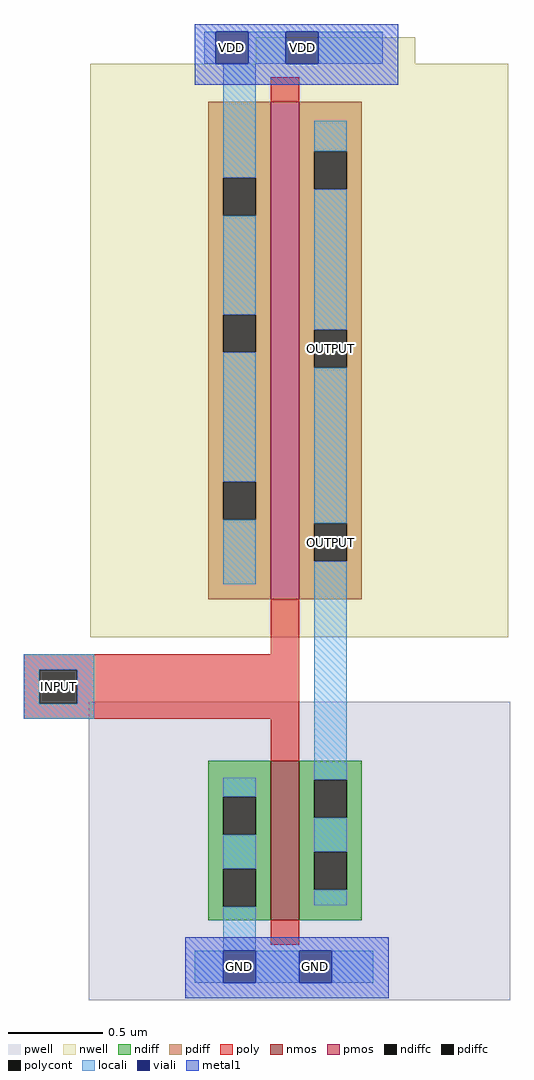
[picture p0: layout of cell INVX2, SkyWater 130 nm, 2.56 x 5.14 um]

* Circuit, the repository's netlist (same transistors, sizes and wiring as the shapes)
* NGSPICE file created from INVX2.ext - technology: sky130A

.subckt INVX2 INPUT VDD GND OUTPUT
X0 OUTPUT INPUT VDD w_n109_n77# sky130_fd_pr__pfet_01v8 ad=0.8646 pd=5.9 as=0.8646 ps=5.9 w=2.62 l=0.15
**devattr s=8646,590 d=8646,590
X1 OUTPUT INPUT GND SUB sky130_fd_pr__nfet_01v8 ad=0.2772 pd=2.34 as=0.2772 ps=2.34 w=0.84 l=0.15
**devattr s=2772,234 d=2772,234
.ends

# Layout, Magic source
magic
tech sky130A
<< nwell >>
rect -22 225 62 239
rect -109 -77 111 225
<< pwell >>
rect -110 -268 112 -111
<< nmos >>
rect -14 -226 1 -142
<< pmos >>
rect -14 -57 1 205
<< ndiff >>
rect -47 -161 -14 -142
rect -47 -181 -39 -161
rect -22 -181 -14 -161
rect -47 -199 -14 -181
rect -47 -219 -39 -199
rect -22 -219 -14 -199
rect -47 -226 -14 -219
rect 1 -152 34 -142
rect 1 -172 9 -152
rect 26 -172 34 -152
rect 1 -190 34 -172
rect 1 -210 9 -190
rect 26 -210 34 -190
rect 1 -226 34 -210
<< pdiff >>
rect -47 165 -14 205
rect -47 145 -39 165
rect -22 145 -14 165
rect -47 93 -14 145
rect -47 73 -39 93
rect -22 73 -14 93
rect -47 5 -14 73
rect -47 -15 -39 5
rect -22 -15 -14 5
rect -47 -57 -14 -15
rect 1 179 34 205
rect 1 159 9 179
rect 26 159 34 179
rect 1 85 34 159
rect 1 65 9 85
rect 26 65 34 85
rect 1 -17 34 65
rect 1 -37 9 -17
rect 26 -37 34 -17
rect 1 -57 34 -37
<< ndiffc >>
rect -39 -181 -22 -161
rect -39 -219 -22 -199
rect 9 -172 26 -152
rect 9 -210 26 -190
<< pdiffc >>
rect -39 145 -22 165
rect -39 73 -22 93
rect -39 -15 -22 5
rect 9 159 26 179
rect 9 65 26 85
rect 9 -37 26 -17
<< poly >>
rect -14 205 1 218
rect -14 -86 1 -57
rect -144 -94 1 -86
rect -144 -112 -136 -94
rect -116 -112 1 -94
rect -144 -120 1 -112
rect -14 -142 1 -120
rect -14 -239 1 -226
<< polycont >>
rect -136 -112 -116 -94
<< locali >>
rect -49 225 -43 242
rect -26 225 -6 242
rect 11 225 45 242
rect -39 165 -22 225
rect -39 93 -22 145
rect -39 5 -22 73
rect -39 -49 -22 -15
rect 9 179 26 195
rect 9 85 26 159
rect 9 -17 26 65
rect -144 -94 -107 -86
rect -144 -112 -136 -94
rect -116 -112 -107 -94
rect -144 -120 -107 -112
rect -39 -161 -22 -151
rect -39 -199 -22 -181
rect 9 -152 26 -37
rect 9 -190 26 -172
rect 9 -218 26 -210
rect -39 -242 -22 -219
rect -54 -259 -39 -242
rect -22 -259 1 -242
rect 18 -259 40 -242
<< viali >>
rect -43 225 -26 242
rect -6 225 11 242
rect -39 -259 -22 -242
rect 1 -259 18 -242
<< metal1 >>
rect -54 242 53 246
rect -54 225 -43 242
rect -26 225 -6 242
rect 11 225 53 242
rect -54 214 53 225
rect -59 -242 48 -235
rect -59 -259 -39 -242
rect -22 -259 1 -242
rect 18 -259 48 -242
rect -59 -267 48 -259
<< labels >>
rlabel viali -43 225 -26 242 1 VDD
rlabel viali -6 225 11 242 1 VDD
rlabel viali -39 -259 -22 -242 1 GND
rlabel viali 1 -259 18 -242 1 GND
rlabel pdiffc 9 -37 26 -17 1 OUTPUT
rlabel pdiffc 9 65 26 85 1 OUTPUT
rlabel polycont -136 -112 -116 -94 1 INPUT
<< end >>
